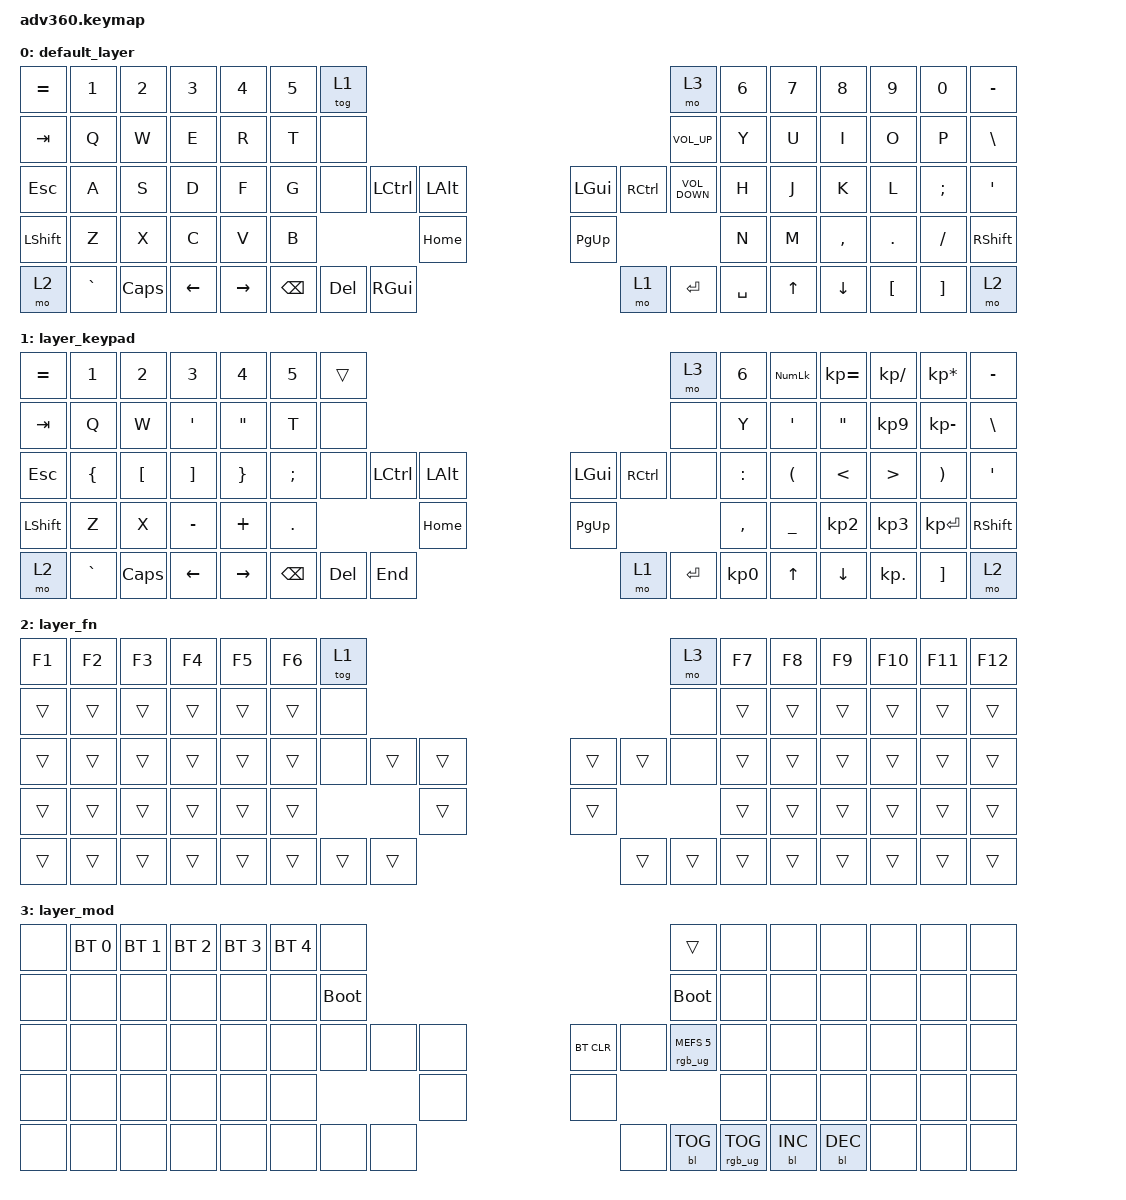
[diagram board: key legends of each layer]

/*
 * Copyright (c) 2020 The ZMK Contributors
 *
 * SPDX-License-Identifier: MIT
 */


/* THIS FILE WAS GENERATED!
 *
 * This file was generated automatically. You may or may not want to
 * edit it directly.
 */

#include <behaviors.dtsi>
#include <dt-bindings/zmk/keys.h>
#include <dt-bindings/zmk/bt.h>
#include <dt-bindings/zmk/rgb.h>
#include <dt-bindings/zmk/backlight.h>

/ {
  behaviors {
    #include "macros.dtsi"
    #include "version.dtsi"

    hm: homerow_mods {
        compatible = "zmk,behavior-hold-tap";
        label = "HOMEROW_MODS";
        #binding-cells = <2>;
        tapping-term-ms = <200>;
        quick_tap_ms = <175>;
        flavor = "tap-preferred";
        bindings = <&kp>, <&kp>;
    };
  };

    keymap {
        compatible = "zmk,keymap";


        default_layer {
            bindings = <
 &kp EQUAL     &kp N1    &kp N2    &kp N3     &kp N4  &kp N5              &tog 1                                                                              &mo 3  &kp N6  &kp N7     &kp N8    &kp N9    &kp N0  &kp MINUS
   &kp TAB      &kp Q     &kp W     &kp E      &kp R   &kp T               &none                                                                       &kp C_VOL_UP   &kp Y   &kp U      &kp I     &kp O     &kp P   &kp BSLH
   &kp ESC      &kp A     &kp S     &kp D      &kp F   &kp G               &none  &kp LCTRL       &kp LALT                   &kp LGUI  &kp RCTRL  &kp C_VOLUME_DOWN   &kp H   &kp J      &kp K     &kp L  &kp SEMI    &kp SQT
 &kp LSHFT      &kp Z     &kp X     &kp C      &kp V   &kp B                                      &kp HOME                  &kp PG_UP                                 &kp N   &kp M  &kp COMMA   &kp DOT  &kp FSLH  &kp RSHFT
     &mo 2  &kp GRAVE  &kp CAPS  &kp LEFT  &kp RIGHT                    &kp BSPC    &kp DEL  &kp RIGHT_GUI                      &mo 1  &kp ENTER          &kp SPACE          &kp UP   &kp DOWN  &kp LBKT  &kp RBKT      &mo 2
            >;
        };

        layer_keypad {
            bindings = <
 &kp EQUAL          &kp N1            &kp N2             &kp N3             &kp N4         &kp N5              &trans                                                                 &mo 3     &kp N6            &kp KP_NUM       &kp KP_EQUAL     &kp KP_DIVIDE        &kp KP_MULTIPLY  &kp MINUS
   &kp TAB           &kp Q             &kp W   &kp SINGLE_QUOTE  &kp DOUBLE_QUOTES          &kp T               &none                                                                 &none      &kp Y      &kp SINGLE_QUOTE  &kp DOUBLE_QUOTES         &kp KP_N9           &kp KP_MINUS   &kp BSLH
   &kp ESC  &kp LEFT_BRACE  &kp LEFT_BRACKET  &kp RIGHT_BRACKET    &kp RIGHT_BRACE  &kp SEMICOLON               &none  &kp LCTRL  &kp LALT                   &kp LGUI  &kp RCTRL      &none  &kp COLON  &kp LEFT_PARENTHESIS      &kp LESS_THAN  &kp GREATER_THAN  &kp RIGHT_PARENTHESIS    &kp SQT
 &kp LSHFT           &kp Z             &kp X          &kp MINUS           &kp PLUS        &kp DOT                                 &kp HOME                  &kp PG_UP                        &kp COMMA        &kp UNDERSCORE          &kp KP_N2         &kp KP_N3           &kp KP_ENTER  &kp RSHFT
     &mo 2       &kp GRAVE          &kp CAPS           &kp LEFT          &kp RIGHT                           &kp BSPC    &kp DEL   &kp END                      &mo 1  &kp ENTER  &kp KP_N0                           &kp UP           &kp DOWN        &kp KP_DOT               &kp RBKT      &mo 2
            >;
        };

        layer_fn {
            bindings = <
 &kp F1  &kp F2  &kp F3  &kp F4  &kp F5  &kp F6            &tog 1                                                   &mo 3  &kp F7  &kp F8  &kp F9  &kp F10  &kp F11  &kp F12
 &trans  &trans  &trans  &trans  &trans  &trans             &none                                                   &none  &trans  &trans  &trans   &trans   &trans   &trans
 &trans  &trans  &trans  &trans  &trans  &trans             &none  &trans  &trans                  &trans  &trans   &none  &trans  &trans  &trans   &trans   &trans   &trans
 &trans  &trans  &trans  &trans  &trans  &trans                            &trans                  &trans                  &trans  &trans  &trans   &trans   &trans   &trans
 &trans  &trans  &trans  &trans  &trans                    &trans  &trans  &trans                  &trans  &trans  &trans          &trans  &trans   &trans   &trans   &trans
            >;
        };

        layer_mod {
            bindings = <
  &none  &bt BT_SEL 0  &bt BT_SEL 1  &bt BT_SEL 2  &bt BT_SEL 3  &bt BT_SEL 4                  &none                                                                          &trans   &none       &none       &none   &none   &none   &none
  &none         &none         &none         &none         &none         &none            &bootloader                                                                     &bootloader   &none       &none       &none   &none   &none   &none
  &none         &none         &none         &none         &none         &none                  &none   &none   &none                  &bt BT_CLR       &none  &rgb_ug RGB_MEFS_CMD 5   &none       &none       &none   &none   &none   &none
  &none         &none         &none         &none         &none         &none                                  &none                       &none                                       &none       &none       &none   &none   &none   &none
  &none         &none         &none         &none         &none                                &none   &none   &none                       &none  &bl BL_TOG         &rgb_ug RGB_TOG          &bl BL_INC  &bl BL_DEC   &none   &none   &none
            >;
        };

    };
};
